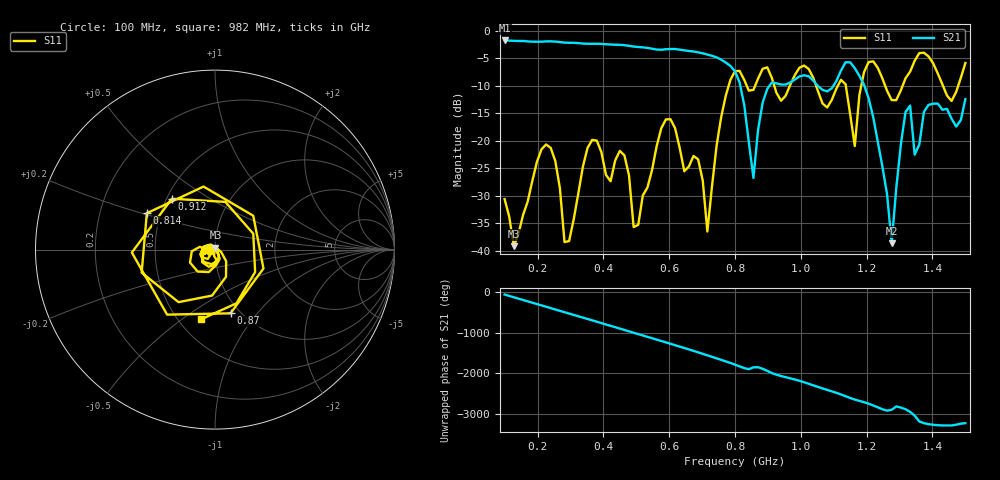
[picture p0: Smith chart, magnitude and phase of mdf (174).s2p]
! NanoVNA-App
! Date: 2025-09-26 09:41:05
! Start: 100MHz Stop: 1,5GHz Points: 101
! S-Parameter data: F S11 S21 S12 S22
# Hz S RI R 50
!  Frequency  S11_Real  S11_Imag  S21_Real  S21_Imag  S12_Real  S12_Imag  S22_Real  S22_Imag
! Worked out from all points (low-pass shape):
!   101 points, 100 MHz to 1.5 GHz, reference 50 ohm
!   highest |S21| = -1.79 dB at 100 MHz (marker M1); lowest = -38.6 dB at 1.276 GHz (marker M2)
!   |S21| within 3 dB of the highest: start of sweep to 740.6 MHz
!   lowest |S11| = -39.2 dB at 128 MHz (marker M3), VSWR 1.02, Z = 50.3 + j1.07 ohm
!   |S11| at or under -10 dB: start of sweep to 780.9 MHz; 1.046 GHz to 1.113 GHz (66.53 MHz wide, 6.16 % of centre); 1.256 GHz to 1.309 GHz (53.33 MHz wide, 4.16 % of centre) (the widest 3 of 7)
!   S12 and S22 are empty: the file has one direction only
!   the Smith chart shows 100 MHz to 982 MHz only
!   S11 on the Smith chart (normalised r, x): 100 MHz: 0.94, -0.01; 814 MHz: 0.42, +0.21; 870 MHz: 0.90, -0.74; 912 MHz: 0.53, +0.35; 982 MHz: 0.64, -0.59
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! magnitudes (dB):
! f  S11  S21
! 100 MHz  -30.6  -1.8
! 128 MHz  -39.2  -1.9
! 212 MHz  -21.6  -2.0
! 282 MHz  -38.4  -2.2
! 338 MHz  -24.7  -2.4
! 464 MHz  -22.7  -2.6
! 492 MHz  -35.7  -2.9
! 576 MHz  -17.7  -3.5
! 688 MHz  -23.4  -3.9
! 716 MHz  -36.5  -4.4
! 800 MHz  -7.4  -7.4
! 814 MHz  -7.3  -9.4
! 856 MHz  -10.8  -26.8
! 870 MHz  -8.7  -18.1
! 912 MHz  -8.6  -9.4
! 982 MHz  -8.1  -8.9
! 1.038 GHz  -8.6  -9.1
! 1.164 GHz  -21.0  -6.8
! 1.192 GHz  -7.6  -9.8
! 1.276 GHz  -12.6  -38.6
! 1.318 GHz  -8.7  -14.8
! 1.5 GHz  -5.9  -12.4
